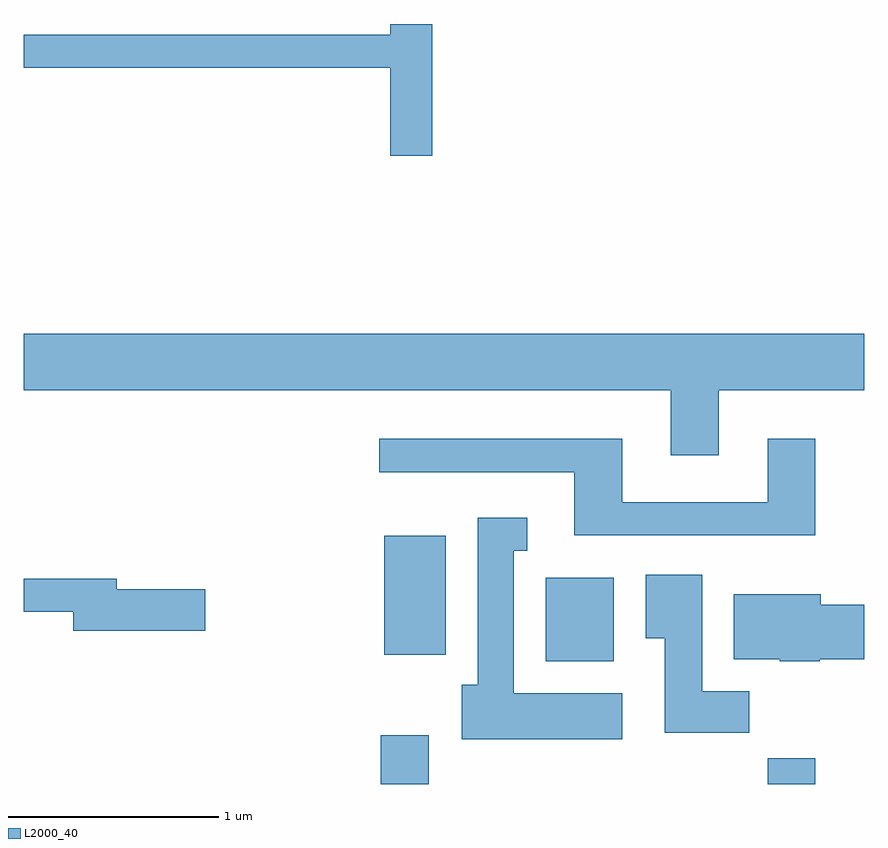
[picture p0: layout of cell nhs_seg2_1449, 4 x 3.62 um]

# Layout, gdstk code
import gdstk
lib = gdstk.Library(unit=1e-6, precision=1e-09)
def R(c, l, rs):  # rectangles x0, y0, x1, y1
    for r in rs: c.add(gdstk.rectangle(r[:2], r[2:], *l))
def P(c, l, *ps):  # polygons
    for p in ps: c.add(gdstk.Polygon(p, *l))
L2000_40 = (2000, 40)

nhs_seg2_1449 = lib.new_cell('nhs_seg2_1449')
R(nhs_seg2_1449, L2000_40, [(229.311,1019.802,229.539,1020.034), (231.151,1019.802,231.379,1019.924), (230.096,1020.386,230.419,1020.784), (229.326,1020.416,229.619,1020.984)])
P(nhs_seg2_1449, L2000_40, [(229.554,1023.419),(229.356,1023.419),(229.356,1023.369),(227.611,1023.369),(227.611,1023.211),(229.356,1023.211),(229.356,1022.791),(229.554,1022.791)],
  [(230.919,1021.676),(231.611,1021.676),(231.611,1021.944),(227.611,1021.944),(227.611,1021.676),(230.691,1021.676),(230.691,1021.366),(230.919,1021.366)],
  [(231.379,1021.444),(231.151,1021.444),(231.151,1021.144),(230.459,1021.144),(230.459,1021.444),(229.303,1021.444),(229.303,1021.286),(230.231,1021.286),(230.231,1020.986),(231.379,1020.986)],
  [(230.459,1020.234),(229.944,1020.234),(229.944,1020.911),(230.008,1020.911),(230.008,1021.069),(229.771,1021.069),(229.771,1020.274),(229.696,1020.274),(229.696,1020.016),(230.459,1020.016)],
  [(231.064,1020.244),(230.839,1020.244),(230.839,1020.799),(230.571,1020.799),(230.571,1020.496),(230.661,1020.496),(230.661,1020.046),(231.064,1020.046)],
  [(228.474,1020.729),(228.054,1020.729),(228.054,1020.779),(227.611,1020.779),(227.611,1020.621),(227.846,1020.621),(227.846,1020.531),(228.474,1020.531)],
  [(231.4,1020.396),(231.611,1020.396),(231.611,1020.654),(231.404,1020.654),(231.404,1020.704),(230.991,1020.704),(230.991,1020.396),(231.21,1020.396),(231.21,1020.386),(231.4,1020.386)])

lib.write_gds('nhs_seg2_1449.gds')
